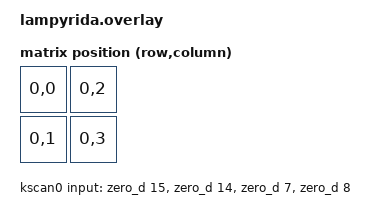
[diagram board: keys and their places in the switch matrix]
#include <dt-bindings/zmk/matrix_transform.h>

/ {
  kscan0: kscan0 {
    compatible = "zmk,kscan-gpio-direct";
    wakeup-source;

    input-gpios
      = <&zero_d 15 (GPIO_ACTIVE_LOW | GPIO_PULL_UP)>
      , <&zero_d 14 (GPIO_ACTIVE_LOW | GPIO_PULL_UP)>
      , <&zero_d 7  (GPIO_ACTIVE_LOW | GPIO_PULL_UP)>
      , <&zero_d 8  (GPIO_ACTIVE_LOW | GPIO_PULL_UP)>
      ;
  };

  default_transform: keymap_transform0 {
    compatible = "zmk,matrix-transform";
    columns = <2>;
    rows = <2>;
    map = <
      RC(0,0) RC(0,2)
      RC(0,1) RC(0,3)
    >;
  };

  physical_layout0: physical_layout_0 {
    compatible = "zmk,physical-layout";
    display-name = "Default Layout";
    transform = <&default_transform>;
  };

  chosen {
    zmk,kscan = &kscan0;
    zmk,physical-layout = &physical_layout0;
  };
};
